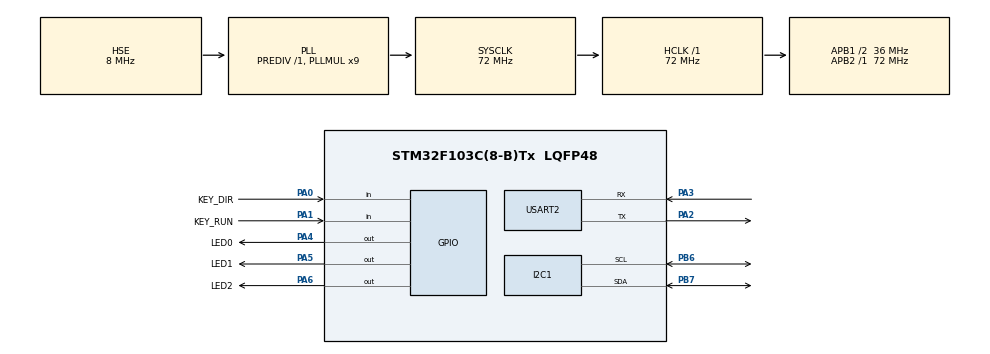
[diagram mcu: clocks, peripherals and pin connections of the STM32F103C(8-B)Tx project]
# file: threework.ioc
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Mcu.Family=STM32F1
Mcu.Name=STM32F103C(8-B)Tx
Mcu.Package=LQFP48
NVIC.I2C1_ER_IRQn=true\:0\:0\:false\:false\:true\:true\:true\:true
NVIC.I2C1_EV_IRQn=true\:0\:0\:false\:false\:true\:true\:true\:true
NVIC.PriorityGroup=NVIC_PRIORITYGROUP_4
NVIC.TIM2_IRQn=true\:2\:0\:true\:false\:true\:true\:true\:true
NVIC.USART2_IRQn=true\:1\:0\:true\:false\:true\:true\:true\:true
PA0-WKUP.GPIO_Label=KEY_DIR
PA0-WKUP.GPIO_PuPd=GPIO_PULLUP
PA0-WKUP.Signal=GPIO_Input
PA1.GPIO_Label=KEY_RUN
PA1.GPIO_PuPd=GPIO_PULLUP
PA1.Signal=GPIO_Input
PA13.Mode=Serial_Wire
PA13.Signal=SYS_JTMS-SWDIO
PA14.Mode=Serial_Wire
PA14.Signal=SYS_JTCK-SWCLK
PA2.Mode=Asynchronous
PA2.Signal=USART2_TX
PA3.Mode=Asynchronous
PA3.Signal=USART2_RX
PA4.GPIO_Label=LED0
PA4.Signal=GPIO_Output
PA5.GPIO_Label=LED1
PA5.Signal=GPIO_Output
PA6.GPIO_Label=LED2
PA6.Signal=GPIO_Output
PB6.Mode=I2C
PB6.Signal=I2C1_SCL
PB7.Mode=I2C
PB7.Signal=I2C1_SDA
PD0-OSC_IN.Mode=HSE-External-Oscillator
PD0-OSC_IN.Signal=RCC_OSC_IN
PD1-OSC_OUT.Mode=HSE-External-Oscillator
PD1-OSC_OUT.Signal=RCC_OSC_OUT
ProjectManager.HeapSize=0x200
ProjectManager.StackSize=0x400
ProjectManager.TargetToolchain=STM32CubeIDE
RCC.AHBFreq_Value=72000000
RCC.APB1CLKDivider=RCC_HCLK_DIV2
RCC.APB1Freq_Value=36000000
RCC.APB1TimFreq_Value=72000000
RCC.APB2Freq_Value=72000000
RCC.APB2TimFreq_Value=72000000
RCC.HCLKFreq_Value=72000000
RCC.PLLMUL=RCC_PLL_MUL9
RCC.PLLSourceVirtual=RCC_PLLSOURCE_HSE
RCC.SYSCLKFreq_VALUE=72000000
RCC.SYSCLKSource=RCC_SYSCLKSOURCE_PLLCLK
RCC.USBFreq_Value=72000000
TIM2.Period=99
TIM2.Prescaler=7200-1
USART2.VirtualMode=VM_ASYNC
VP_TIM2_VS_ClockSourceINT.Mode=Internal
board=custom

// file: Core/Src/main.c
/* USER CODE BEGIN Header */
/**
  ******************************************************************************
  * @file           : main.c
  * @brief          : Main program body
  ******************************************************************************
  * @attention
  *
  * Copyright (c) 2026 STMicroelectronics.
  * All rights reserved.
  *
  * This software is licensed under terms that can be found in the LICENSE file
  * in the root directory of this software component.
  * If no LICENSE file comes with this software, it is provided AS-IS.
  *
  ******************************************************************************
  */
/* USER CODE END Header */
#include "main.h"
#include "i2c.h"
#include "tim.h"
#include "usart.h"
#include "gpio.h"

/* USER CODE BEGIN Includes */
#include "oled.h"
/* USER CODE END Includes */

void SystemClock_Config(void);

/* USER CODE BEGIN 0 */
#include <stdio.h>
#include <string.h>

typedef struct {
  uint8_t  run;       /* 0暂停 / 1运行 */
  uint8_t  dir;       /* 0正向 / 1反向 */
  uint16_t step_ms;   /* 相邻LED切换间隔 100~2000 */
  uint8_t  led_idx;   /* 当前点亮 0/1/2 (对应 LED0/1/2) */
} LightState;

LightState g_state = { 1, 0, 300, 0 };   /* 上电默认：运行、正向、300ms、亮LED0 */
volatile uint8_t g_state_dirty = 1;      /* =1 需刷OLED+发反馈，上电先刷一次 */

uint8_t  rx_byte;                        /* 单字节接收落地点 */
uint8_t  rx_buf[6];                      /* 一帧6字节 */
uint8_t  rx_cnt = 0;
volatile uint8_t g_pkt_ready = 0;        /* 攒满一帧置1，主循环解析后清0 */

uint8_t  key_dir_last = 1, key_run_last = 1;   /* 空闲电平(按下接地+上拉=1) */
uint32_t key_dir_time = 0, key_run_time = 0;
#define DEBOUNCE_MS 50

uint32_t led_last_time = 0;              /* 上次切灯时刻 */
char     tx_line[64];

#define LED_NUM 3
const GPIO_TypeDef* LED_PORT[LED_NUM] = { LED0_GPIO_Port, LED1_GPIO_Port, LED2_GPIO_Port };
const uint16_t      LED_PIN [LED_NUM] = { LED0_Pin, LED1_Pin, LED2_Pin };

/* ---- 前向声明（解决 CLion implicit declaration 报错） ---- */
static void led_apply(void);
static void led_flow(void);
static void scan_keys(void);
static void handle_packet(void);
static void uart_send_feedback(void);
static void OLED_refresh_state(void);
static void refresh_all(void);
/* 若用现成驱动库，注释掉下面两行，并 #include "oled.h" */
//void OLED_ShowString(uint8_t x, uint8_t page, const char *s);
void OLED_Clear(void);
/* USER CODE END 0 */

int main(void)
{

  /* MCU Configuration--------------------------------------------------------*/

  /* Reset of all peripherals, Initializes the Flash interface and the Systick. */
  HAL_Init();

  /* Configure the system clock */
  SystemClock_Config();

  /* Initialize all configured peripherals */
  MX_GPIO_Init();
  MX_I2C1_Init();
  MX_TIM2_Init();
  MX_USART2_UART_Init();
  /* USER CODE BEGIN 2 */
  led_apply();                                  // 先让初始灯亮起来
  HAL_UART_Receive_IT(&huart2, &rx_byte, 1);
    OLED_Init();                  // <--- 【必须加这一句】初始化屏幕
    OLED_Clear();
  /* USER CODE END 2 */

  /* Infinite loop */
  while (1)
  {

    /* USER CODE BEGIN 3 */
    scan_keys();       // 按键改 g_state，置 dirty
    handle_packet();   // 串口包解析，改 g_state，置 dirty
    led_flow();        // 按 step_ms 推进 led_idx（run=0 跳过）
    refresh_all();     // dirty 时刷OLED+发反馈
      OLED_refresh_state();

      HAL_Delay(5);
  }
  /* USER CODE END 3 */
}

void SystemClock_Config(void)
{
  RCC_OscInitTypeDef RCC_OscInitStruct = {0};
  RCC_ClkInitTypeDef RCC_ClkInitStruct = {0};

  /** Initializes the RCC Oscillators according to the specified parameters
  * in the RCC_OscInitTypeDef structure.
  */
  RCC_OscInitStruct.OscillatorType = RCC_OSCILLATORTYPE_HSE;
  RCC_OscInitStruct.HSEState = RCC_HSE_ON;
  RCC_OscInitStruct.HSEPredivValue = RCC_HSE_PREDIV_DIV1;
  RCC_OscInitStruct.HSIState = RCC_HSI_ON;
  RCC_OscInitStruct.PLL.PLLState = RCC_PLL_ON;
  RCC_OscInitStruct.PLL.PLLSource = RCC_PLLSOURCE_HSE;
  RCC_OscInitStruct.PLL.PLLMUL = RCC_PLL_MUL9;
  if (HAL_RCC_OscConfig(&RCC_OscInitStruct) != HAL_OK)
  {
    Error_Handler();
  }

  /** Initializes the CPU, AHB and APB buses clocks
  */
  RCC_ClkInitStruct.ClockType = RCC_CLOCKTYPE_HCLK|RCC_CLOCKTYPE_SYSCLK
                              |RCC_CLOCKTYPE_PCLK1|RCC_CLOCKTYPE_PCLK2;
  RCC_ClkInitStruct.SYSCLKSource = RCC_SYSCLKSOURCE_PLLCLK;
  RCC_ClkInitStruct.AHBCLKDivider = RCC_SYSCLK_DIV1;
  RCC_ClkInitStruct.APB1CLKDivider = RCC_HCLK_DIV2;
  RCC_ClkInitStruct.APB2CLKDivider = RCC_HCLK_DIV1;

  if (HAL_RCC_ClockConfig(&RCC_ClkInitStruct, FLASH_LATENCY_2) != HAL_OK)
  {
    Error_Handler();
  }
}

/* USER CODE BEGIN 4 */

static void led_apply(void) {
    for (int i = 0; i < LED_NUM; i++)
        HAL_GPIO_WritePin((GPIO_TypeDef*)LED_PORT[i], LED_PIN[i],
                          (i == g_state.led_idx) ? GPIO_PIN_SET : GPIO_PIN_RESET);
}

static void led_flow(void) {
    if (g_state.run == 0) return;
    if (HAL_GetTick() - led_last_time >= g_state.step_ms) {
        led_last_time = HAL_GetTick();
        if (g_state.dir == 0) g_state.led_idx = (g_state.led_idx + 1) % LED_NUM;
        else                  g_state.led_idx = (g_state.led_idx + LED_NUM - 1) % LED_NUM;
        led_apply();
    }
}

static void scan_keys(void) {
    uint32_t now = HAL_GetTick();
    GPIO_PinState lv;

    lv = HAL_GPIO_ReadPin(KEY_DIR_GPIO_Port, KEY_DIR_Pin);     /* 切方向 */
    if (lv != key_dir_last) { key_dir_last = lv; key_dir_time = now; }
    else if (lv == GPIO_PIN_RESET && key_dir_time != 0xFFFFFFFF
             && (now - key_dir_time) >= DEBOUNCE_MS) {
        key_dir_time = 0xFFFFFFFF;
        g_state.dir ^= 1; g_state_dirty = 1;
    }

    lv = HAL_GPIO_ReadPin(KEY_RUN_GPIO_Port, KEY_RUN_Pin);     /* 切暂停/继续 */
    if (lv != key_run_last) { key_run_last = lv; key_run_time = now; }
    else if (lv == GPIO_PIN_RESET && key_run_time != 0xFFFFFFFF
             && (now - key_run_time) >= DEBOUNCE_MS) {
        key_run_time = 0xFFFFFFFF;
        g_state.run ^= 1; g_state_dirty = 1;
    }
}

static void handle_packet(void) {
    if (!g_pkt_ready) return;
    g_pkt_ready = 0;
    uint8_t sum = (uint8_t)(0xAA + rx_buf[1] + rx_buf[2] + rx_buf[3] + rx_buf[4]);
    if (rx_buf[0] == 0xAA && sum == rx_buf[5]) {
        uint16_t step = (uint16_t)(rx_buf[3] | (rx_buf[4] << 8));
        if (step >= 100 && step <= 2000) {
            g_state.run     = rx_buf[1] ? 1 : 0;
            g_state.dir     = rx_buf[2] ? 1 : 0;
            g_state.step_ms = step;
            g_state_dirty   = 1;
        }
    }
}

static void uart_send_feedback(void) {
    int n = snprintf(tx_line, sizeof(tx_line),
        "STATE=%s,DIR=%s,STEP=%u,LED=%u\r\n",
        g_state.run ? "RUN" : "PAUSE",
        g_state.dir ? "REV" : "FWD",
        (unsigned)g_state.step_ms,
        (unsigned)(g_state.led_idx + 1));
    HAL_UART_Transmit(&huart2, (uint8_t*)tx_line, n, 100);  /* 阻塞发送，稳妥 */
}

void HAL_UART_RxCpltCallback(UART_HandleTypeDef *huart) {
    if (huart->Instance == USART2) {
        rx_buf[rx_cnt++] = rx_byte;
        if (rx_cnt >= 6) { rx_cnt = 0; g_pkt_ready = 1; }
        HAL_UART_Receive_IT(&huart2, &rx_byte, 1);
    }
}

static void OLED_refresh_state(void) {
    char buf[40];
    OLED_Clear();
  //  OLED_ShowString(1, 1, "STATE:");
    OLED_ShowString(1, 2, g_state.run ? "RUN" : "PAUSE");
   // OLED_ShowString(2, 1, "DIR:");
    OLED_ShowString(2, 2, g_state.dir ? "REV" : "FWD");
    //snprintf(buf, sizeof(buf), "STEP: %dms", (int)g_state.step_ms); OLED_ShowString(4, 0, buf);
    sprintf(buf, "%dms", (int)g_state.step_ms);
  //  OLED_ShowString(3, 1, "STEP: ");
    OLED_ShowString(3, 1, buf);
    //snprintf(buf, sizeof(buf), "LED:  %d", (int)(g_state.led_idx + 1)); OLED_ShowString(6, 0, buf);
    sprintf(buf, "%d", (int)(g_state.led_idx + 1));
    OLED_ShowString(4, 1, "LED:");
    OLED_ShowString(4, 20, buf);
}

static void refresh_all(void) {
    if (!g_state_dirty) return;
    g_state_dirty = 0;
    OLED_refresh_state();
    uart_send_feedback();
}
/* USER CODE END 4 */

void Error_Handler(void)
{
  __disable_irq();
  while (1)
  {
  }
}
